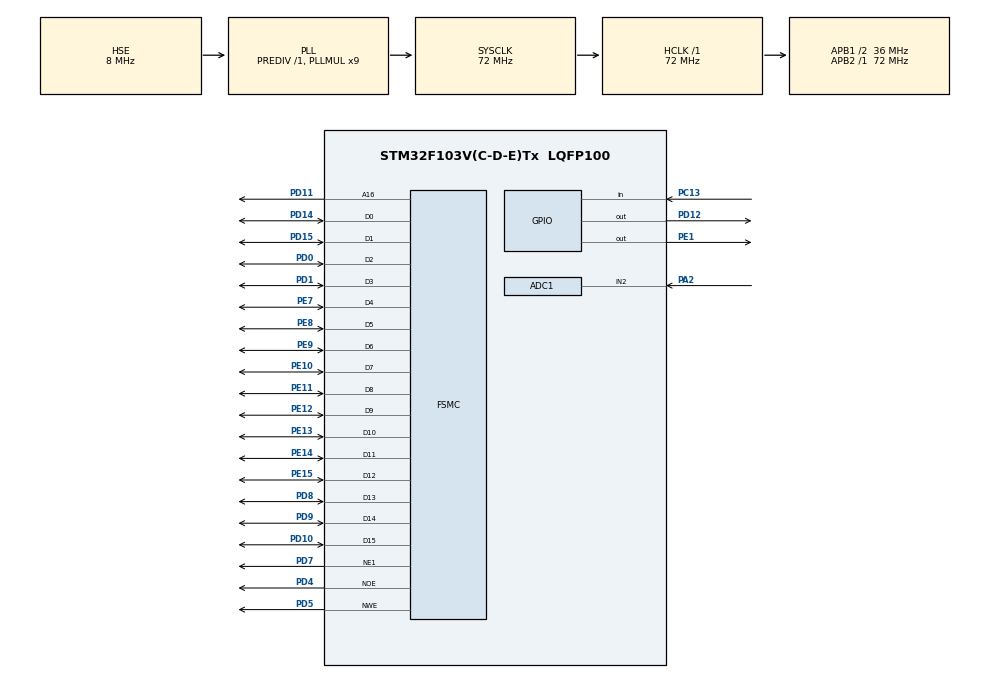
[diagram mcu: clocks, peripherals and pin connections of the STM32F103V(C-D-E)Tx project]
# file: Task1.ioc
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ADC1.Channel-1\#ChannelRegularConversion=ADC_CHANNEL_2
ADC1.NbrOfConversionFlag=1
ADC1.Rank-1\#ChannelRegularConversion=1
ADC1.SamplingTime-1\#ChannelRegularConversion=ADC_SAMPLETIME_1CYCLE_5
ADC1.master=1
Mcu.Family=STM32F1
Mcu.Name=STM32F103V(C-D-E)Tx
Mcu.Package=LQFP100
NVIC.PriorityGroup=NVIC_PRIORITYGROUP_4
OSC_IN.Mode=HSE-External-Oscillator
OSC_IN.Signal=RCC_OSC_IN
OSC_OUT.Mode=HSE-External-Oscillator
OSC_OUT.Signal=RCC_OSC_OUT
PA13.Mode=Serial_Wire
PA13.Signal=SYS_JTMS-SWDIO
PA14.Mode=Serial_Wire
PA14.Signal=SYS_JTCK-SWCLK
PA2.Signal=ADCx_IN2
PC13-TAMPER-RTC.GPIO_PuPd=GPIO_PULLDOWN
PC13-TAMPER-RTC.Signal=GPIO_Input
PC14-OSC32_IN.Mode=LSE-External-Oscillator
PC14-OSC32_IN.Signal=RCC_OSC32_IN
PC15-OSC32_OUT.Mode=LSE-External-Oscillator
PC15-OSC32_OUT.Signal=RCC_OSC32_OUT
PD0.Mode=16b-d1
PD0.Signal=FSMC_D2
PD1.Mode=16b-d1
PD1.Signal=FSMC_D3
PD10.Mode=16b-d1
PD10.Signal=FSMC_D15
PD11.Mode=A16_1
PD11.Signal=FSMC_A16
PD12.GPIO_Speed=GPIO_SPEED_FREQ_HIGH
PD12.Signal=GPIO_Output
PD14.Mode=16b-d1
PD14.Signal=FSMC_D0
PD15.Mode=16b-d1
PD15.Signal=FSMC_D1
PD4.Mode=Lcd1
PD4.Signal=FSMC_NOE
PD5.Mode=Lcd1
PD5.Signal=FSMC_NWE
PD7.Mode=NorPsramChipSelect1_1
PD7.Signal=FSMC_NE1
PD8.Mode=16b-d1
PD8.Signal=FSMC_D13
PD9.Mode=16b-d1
PD9.Signal=FSMC_D14
PE1.GPIO_Speed=GPIO_SPEED_FREQ_HIGH
PE1.Signal=GPIO_Output
PE10.Mode=16b-d1
PE10.Signal=FSMC_D7
PE11.Mode=16b-d1
PE11.Signal=FSMC_D8
PE12.Mode=16b-d1
PE12.Signal=FSMC_D9
PE13.Mode=16b-d1
PE13.Signal=FSMC_D10
PE14.Mode=16b-d1
PE14.Signal=FSMC_D11
PE15.Mode=16b-d1
PE15.Signal=FSMC_D12
PE7.Mode=16b-d1
PE7.Signal=FSMC_D4
PE8.Mode=16b-d1
PE8.Signal=FSMC_D5
PE9.Mode=16b-d1
PE9.Signal=FSMC_D6
ProjectManager.HeapSize=0x200
ProjectManager.StackSize=0x400
ProjectManager.TargetToolchain=MDK-ARM V5
RCC.ADCPresc=RCC_ADCPCLK2_DIV6
RCC.AHBFreq_Value=72000000
RCC.APB1CLKDivider=RCC_HCLK_DIV2
RCC.APB1Freq_Value=36000000
RCC.APB1TimFreq_Value=72000000
RCC.APB2Freq_Value=72000000
RCC.APB2TimFreq_Value=72000000
RCC.HCLKFreq_Value=72000000
RCC.PLLMUL=RCC_PLL_MUL9
RCC.PLLSourceVirtual=RCC_PLLSOURCE_HSE
RCC.SYSCLKFreq_VALUE=72000000
RCC.SYSCLKSource=RCC_SYSCLKSOURCE_PLLCLK
RCC.USBFreq_Value=72000000
SH.ADCx_IN2.0=ADC1_IN2,IN2
board=custom

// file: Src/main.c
/* USER CODE BEGIN Header */
/**
  ******************************************************************************
  * @file           : main.c
  * @brief          : Main program body
  ******************************************************************************
  * @attention
  *
  * <h2><center>&copy; Copyright (c) 2021 STMicroelectronics.
  * All rights reserved.</center></h2>
  *
  * This software component is licensed by ST under BSD 3-Clause license,
  * the "License"; You may not use this file except in compliance with the
  * License. You may obtain a copy of the License at:
  *                        opensource.org/licenses/BSD-3-Clause
  *
  ******************************************************************************
  */
/* USER CODE END Header */

#include "main.h"

/* USER CODE BEGIN Includes */
#include "lcd.h"
/* USER CODE END Includes */

ADC_HandleTypeDef hadc1;

SRAM_HandleTypeDef hsram1;

void SystemClock_Config(void);
static void MX_GPIO_Init(void);
static void MX_ADC1_Init(void);
static void MX_FSMC_Init(void);

int main(void)
{

  /* MCU Configuration--------------------------------------------------------*/

  /* Reset of all peripherals, Initializes the Flash interface and the Systick. */
  HAL_Init();

  /* Configure the system clock */
  SystemClock_Config();

  /* Initialize all configured peripherals */
  MX_GPIO_Init();
  MX_ADC1_Init();
  MX_FSMC_Init();
  /* USER CODE BEGIN 2 */
	LCD_INIT();
	HAL_ADCEx_Calibration_Start(&hadc1);
	uint32_t value = 0;
	GPIO_PinState current_state = GPIO_PIN_RESET;
  /* USER CODE END 2 */

  /* Infinite loop */
  while (1)
  {

    /* USER CODE BEGIN 3 */

		if ((current_state == GPIO_PIN_RESET) && (HAL_GPIO_ReadPin(GPIOC, GPIO_PIN_13) == GPIO_PIN_SET)){
			current_state = GPIO_PIN_SET;
		}
		if ((current_state == GPIO_PIN_SET) && (HAL_GPIO_ReadPin(GPIOC, GPIO_PIN_13) == GPIO_PIN_RESET)){
			//LCD_Clear(100, 15, 150, 30, WHITE);
			current_state = GPIO_PIN_RESET;
			HAL_ADC_Start(&hadc1);
			HAL_ADC_PollForConversion(&hadc1, 1000);
			value = HAL_ADC_GetValue(&hadc1);
			LCD_DrawValue(100, 15, (value));
			LCD_DrawValueHex(150, 15, (value));
		}
		LCD_DrawString(100,0, "DEC");
		LCD_DrawString(150,0, "HEX");
		LCD_DrawString(0, 15, "ADC Value : ");

  }
  /* USER CODE END 3 */
}

void SystemClock_Config(void)
{
  RCC_OscInitTypeDef RCC_OscInitStruct = {0};
  RCC_ClkInitTypeDef RCC_ClkInitStruct = {0};
  RCC_PeriphCLKInitTypeDef PeriphClkInit = {0};

  /** Initializes the CPU, AHB and APB busses clocks
  */
  RCC_OscInitStruct.OscillatorType = RCC_OSCILLATORTYPE_HSE;
  RCC_OscInitStruct.HSEState = RCC_HSE_ON;
  RCC_OscInitStruct.HSEPredivValue = RCC_HSE_PREDIV_DIV1;
  RCC_OscInitStruct.HSIState = RCC_HSI_ON;
  RCC_OscInitStruct.PLL.PLLState = RCC_PLL_ON;
  RCC_OscInitStruct.PLL.PLLSource = RCC_PLLSOURCE_HSE;
  RCC_OscInitStruct.PLL.PLLMUL = RCC_PLL_MUL9;
  if (HAL_RCC_OscConfig(&RCC_OscInitStruct) != HAL_OK)
  {
    Error_Handler();
  }
  /** Initializes the CPU, AHB and APB busses clocks
  */
  RCC_ClkInitStruct.ClockType = RCC_CLOCKTYPE_HCLK|RCC_CLOCKTYPE_SYSCLK
                              |RCC_CLOCKTYPE_PCLK1|RCC_CLOCKTYPE_PCLK2;
  RCC_ClkInitStruct.SYSCLKSource = RCC_SYSCLKSOURCE_PLLCLK;
  RCC_ClkInitStruct.AHBCLKDivider = RCC_SYSCLK_DIV1;
  RCC_ClkInitStruct.APB1CLKDivider = RCC_HCLK_DIV2;
  RCC_ClkInitStruct.APB2CLKDivider = RCC_HCLK_DIV1;

  if (HAL_RCC_ClockConfig(&RCC_ClkInitStruct, FLASH_LATENCY_2) != HAL_OK)
  {
    Error_Handler();
  }
  PeriphClkInit.PeriphClockSelection = RCC_PERIPHCLK_ADC;
  PeriphClkInit.AdcClockSelection = RCC_ADCPCLK2_DIV6;
  if (HAL_RCCEx_PeriphCLKConfig(&PeriphClkInit) != HAL_OK)
  {
    Error_Handler();
  }
}

static void MX_ADC1_Init(void)
{

  ADC_ChannelConfTypeDef sConfig = {0};

  /** Common config
  */
  hadc1.Instance = ADC1;
  hadc1.Init.ScanConvMode = ADC_SCAN_DISABLE;
  hadc1.Init.ContinuousConvMode = DISABLE;
  hadc1.Init.DiscontinuousConvMode = DISABLE;
  hadc1.Init.ExternalTrigConv = ADC_SOFTWARE_START;
  hadc1.Init.DataAlign = ADC_DATAALIGN_RIGHT;
  hadc1.Init.NbrOfConversion = 1;
  if (HAL_ADC_Init(&hadc1) != HAL_OK)
  {
    Error_Handler();
  }
  /** Configure Regular Channel
  */
  sConfig.Channel = ADC_CHANNEL_2;
  sConfig.Rank = ADC_REGULAR_RANK_1;
  sConfig.SamplingTime = ADC_SAMPLETIME_1CYCLE_5;
  if (HAL_ADC_ConfigChannel(&hadc1, &sConfig) != HAL_OK)
  {
    Error_Handler();
  }

}

static void MX_GPIO_Init(void)
{
  GPIO_InitTypeDef GPIO_InitStruct = {0};

  /* GPIO Ports Clock Enable */
  __HAL_RCC_GPIOC_CLK_ENABLE();
  __HAL_RCC_GPIOA_CLK_ENABLE();
  __HAL_RCC_GPIOE_CLK_ENABLE();
  __HAL_RCC_GPIOD_CLK_ENABLE();

  /*Configure GPIO pin Output Level */
  HAL_GPIO_WritePin(GPIOD, GPIO_PIN_12, GPIO_PIN_RESET);

  /*Configure GPIO pin Output Level */
  HAL_GPIO_WritePin(GPIOE, GPIO_PIN_1, GPIO_PIN_RESET);

  /*Configure GPIO pin : PC13 */
  GPIO_InitStruct.Pin = GPIO_PIN_13;
  GPIO_InitStruct.Mode = GPIO_MODE_INPUT;
  GPIO_InitStruct.Pull = GPIO_PULLDOWN;
  HAL_GPIO_Init(GPIOC, &GPIO_InitStruct);

  /*Configure GPIO pin : PD12 */
  GPIO_InitStruct.Pin = GPIO_PIN_12;
  GPIO_InitStruct.Mode = GPIO_MODE_OUTPUT_PP;
  GPIO_InitStruct.Pull = GPIO_NOPULL;
  GPIO_InitStruct.Speed = GPIO_SPEED_FREQ_HIGH;
  HAL_GPIO_Init(GPIOD, &GPIO_InitStruct);

  /*Configure GPIO pin : PE1 */
  GPIO_InitStruct.Pin = GPIO_PIN_1;
  GPIO_InitStruct.Mode = GPIO_MODE_OUTPUT_PP;
  GPIO_InitStruct.Pull = GPIO_NOPULL;
  GPIO_InitStruct.Speed = GPIO_SPEED_FREQ_HIGH;
  HAL_GPIO_Init(GPIOE, &GPIO_InitStruct);

}

/* FSMC initialization function */
static void MX_FSMC_Init(void)
{

  FSMC_NORSRAM_TimingTypeDef Timing = {0};

  /** Perform the SRAM1 memory initialization sequence
  */
  hsram1.Instance = FSMC_NORSRAM_DEVICE;
  hsram1.Extended = FSMC_NORSRAM_EXTENDED_DEVICE;
  /* hsram1.Init */
  hsram1.Init.NSBank = FSMC_NORSRAM_BANK1;
  hsram1.Init.DataAddressMux = FSMC_DATA_ADDRESS_MUX_DISABLE;
  hsram1.Init.MemoryType = FSMC_MEMORY_TYPE_SRAM;
  hsram1.Init.MemoryDataWidth = FSMC_NORSRAM_MEM_BUS_WIDTH_16;
  hsram1.Init.BurstAccessMode = FSMC_BURST_ACCESS_MODE_DISABLE;
  hsram1.Init.WaitSignalPolarity = FSMC_WAIT_SIGNAL_POLARITY_LOW;
  hsram1.Init.WrapMode = FSMC_WRAP_MODE_DISABLE;
  hsram1.Init.WaitSignalActive = FSMC_WAIT_TIMING_BEFORE_WS;
  hsram1.Init.WriteOperation = FSMC_WRITE_OPERATION_ENABLE;
  hsram1.Init.WaitSignal = FSMC_WAIT_SIGNAL_DISABLE;
  hsram1.Init.ExtendedMode = FSMC_EXTENDED_MODE_DISABLE;
  hsram1.Init.AsynchronousWait = FSMC_ASYNCHRONOUS_WAIT_DISABLE;
  hsram1.Init.WriteBurst = FSMC_WRITE_BURST_DISABLE;
  /* Timing */
  Timing.AddressSetupTime = 15;
  Timing.AddressHoldTime = 15;
  Timing.DataSetupTime = 255;
  Timing.BusTurnAroundDuration = 15;
  Timing.CLKDivision = 16;
  Timing.DataLatency = 17;
  Timing.AccessMode = FSMC_ACCESS_MODE_A;
  /* ExtTiming */

  if (HAL_SRAM_Init(&hsram1, &Timing, NULL) != HAL_OK)
  {
    Error_Handler( );
  }

  /** Disconnect NADV
  */

  __HAL_AFIO_FSMCNADV_DISCONNECTED();

}

void Error_Handler(void)
{
}

/************************ (C) COPYRIGHT STMicroelectronics *****END OF FILE****/
